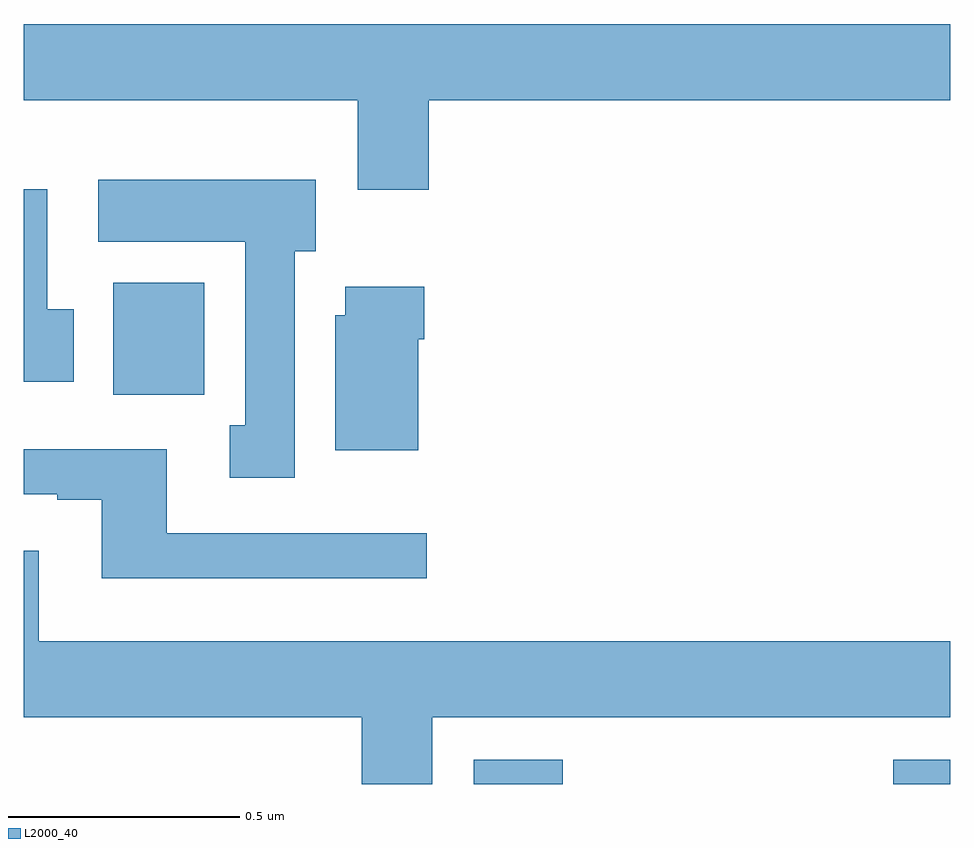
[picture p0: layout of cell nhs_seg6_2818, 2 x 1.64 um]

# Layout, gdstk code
import gdstk
lib = gdstk.Library(unit=1e-6, precision=1e-09)
def R(c, l, rs):  # rectangles x0, y0, x1, y1
    for r in rs: c.add(gdstk.rectangle(r[:2], r[2:], *l))
def P(c, l, *ps):  # polygons
    for p in ps: c.add(gdstk.Polygon(p, *l))
L2000_40 = (2000, 40)

nhs_seg6_2818 = lib.new_cell('nhs_seg6_2818')
R(nhs_seg6_2818, L2000_40, [(148.971,972.5,149.163,972.552), (149.877,972.5,150,972.552), (148.193,973.34,148.39,973.582)])
P(nhs_seg6_2818, L2000_40, [(148.874,973.976),(150,973.976),(150,974.14),(148,974.14),(148,973.976),(148.721,973.976),(148.721,973.782),(148.874,973.782)],
  [(148.585,973.65),(148.63,973.65),(148.63,973.804),(148.161,973.804),(148.161,973.67),(148.478,973.67),(148.478,973.274),(148.445,973.274),(148.445,973.161),(148.585,973.161)],
  [(148.108,973.524),(148.051,973.524),(148.051,973.783),(148,973.783),(148,973.368),(148.108,973.368)],
  [(148.852,973.46),(148.865,973.46),(148.865,973.573),(148.694,973.573),(148.694,973.512),(148.673,973.512),(148.673,973.22),(148.852,973.22)],
  [(148.87,973.041),(148.309,973.041),(148.309,973.222),(148,973.222),(148,973.125),(148.073,973.125),(148.073,973.113),(148.169,973.113),(148.169,972.944),(148.87,972.944)],
  [(148.882,972.644),(150,972.644),(150,972.808),(148.033,972.808),(148.033,973.003),(148,973.003),(148,972.644),(148.73,972.644),(148.73,972.5),(148.882,972.5)])

lib.write_gds('nhs_seg6_2818.gds')
